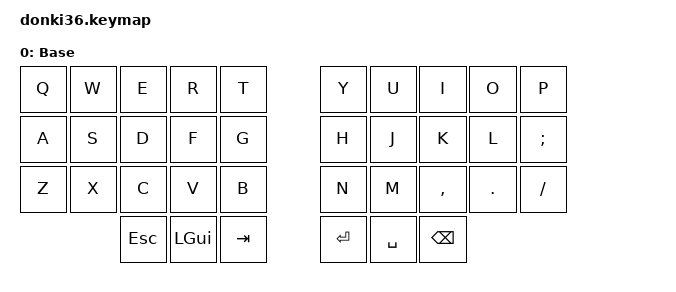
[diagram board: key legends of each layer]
/*
 * Copyright (c) 2020 The ZMK Contributors
 *
 * SPDX-License-Identifier: MIT
 */

#include <zephyr/dt-bindings/input/input-event-codes.h>

#include <behaviors.dtsi>
#include <behaviors/studio_unlock.dtsi>

#include <dt-bindings/zmk/keys.h>
#include <dt-bindings/zmk/bt.h>
#include <dt-bindings/zmk/rgb.h>
#include <dt-bindings/zmk/ext_power.h>
#include <dt-bindings/zmk/outputs.h>
#include <dt-bindings/zmk/mouse.h>
#include <dt-bindings/zmk/input_transform.h>


#define BAS 0
#define GME 1
#define NUP 2
#define LHB 3


/ {
    keymap {
        compatible = "zmk,keymap";

        BAS_layer {
            display-name = "Base";
            bindings = <
                &kp Q          &kp W          &kp E          &kp R          &kp T               &kp Y          &kp U          &kp I          &kp O          &kp P
                &kp A          &kp S          &kp D          &kp F          &kp G               &kp H          &kp J          &kp K          &kp L          &kp SEMI
                &kp Z          &kp X          &kp C          &kp V          &kp B               &kp N          &kp M          &kp COMMA      &kp DOT        &kp FSLH
                                  &kp ESC   &kp LGUI       &kp TAB                           &kp RET        &kp SPACE      &kp BKSP
            >;
        };
    };
};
